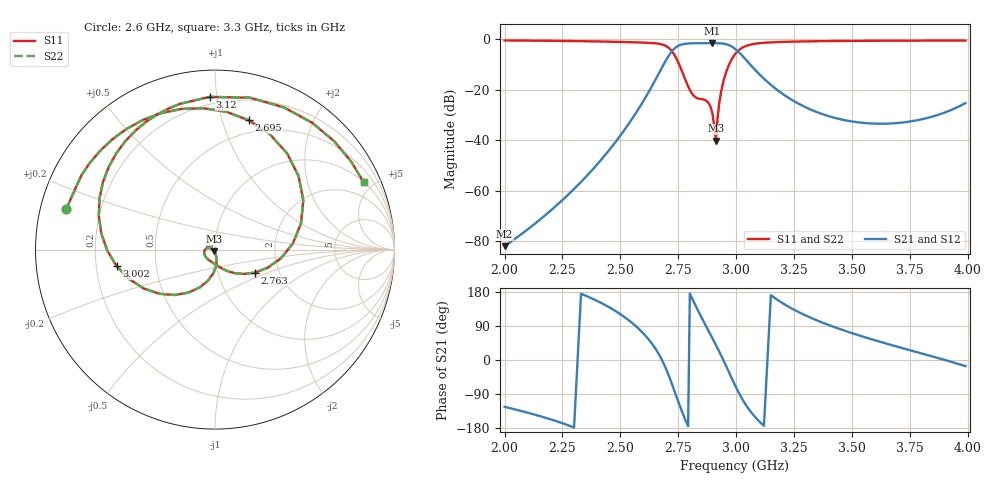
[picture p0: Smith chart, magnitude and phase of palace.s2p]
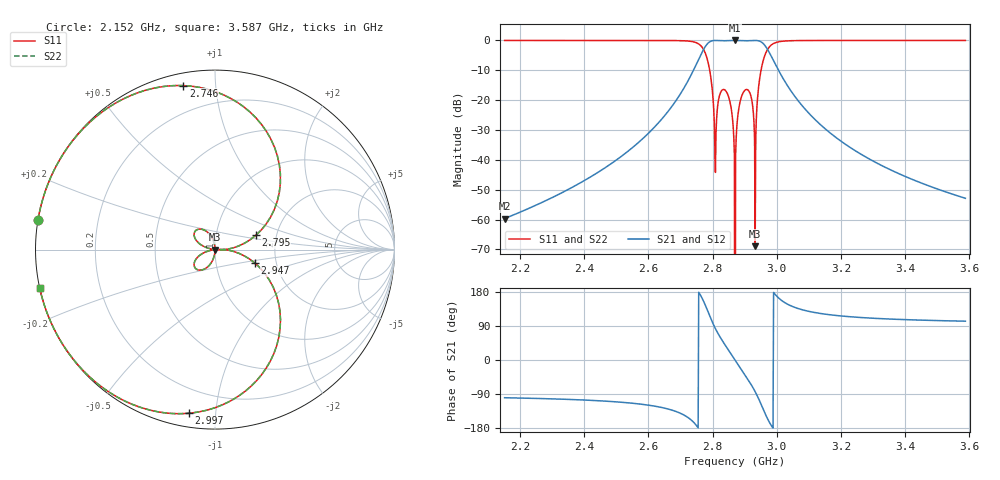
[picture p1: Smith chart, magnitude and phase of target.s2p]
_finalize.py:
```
"""Finalize deliverables: regenerate palace.s2p from the final baked sim,
build the combined comparison figure, copy it into v2_data. Run after final sim."""
import numpy as np, matplotlib
matplotlib.use("Agg")
import matplotlib.pyplot as plt
import skrf as rf, shutil
from config import out_data, out_img, out_s2p

# --- 1) palace.s2p from postpro/final (S22=S11, S12=S21; drop non-physical) ---
d = np.genfromtxt(out_data("postpro/final/port-S.csv"), delimiter=",", names=True,
                  deletechars="", replace_space="")
nm = d.dtype.names; f = d[nm[0]]; o = np.argsort(f); f = f[o]
s11 = 10**(d[nm[1]][o]/20)*np.exp(1j*np.deg2rad(d[nm[2]][o]))
s21 = 10**(d[nm[3]][o]/20)*np.exp(1j*np.deg2rad(d[nm[4]][o]))
keep = (np.abs(s11) <= 1.001) & (np.abs(s21) <= 1.001)
f, s11, s21 = f[keep], s11[keep], s21[keep]
S = np.zeros((len(f), 2, 2), dtype=complex)
S[:, 0, 0] = s11; S[:, 1, 0] = s21; S[:, 0, 1] = s21; S[:, 1, 1] = s11
net = rf.Network(frequency=rf.Frequency.from_f(f*1e9, unit="hz"), s=S, z0=50, name="SIW_BPF_Palace")
net.write_touchstone(out_s2p("palace.s2p").replace(".s2p", ""))
print("palace.s2p:", len(f), "pts")

# --- 2) load comparison sources ---
def db(x): return 20*np.log10(np.clip(np.abs(x), 1e-6, None))
tgt = rf.Network(out_s2p("target.s2p"))
oem = rf.Network(out_s2p("openems.s2p"))
# CST 1st iteration: two stacked blocks (S11 then S21) in "S Parameters.txt"
rows = []
for line in open("S Parameters.txt"):
    s = line.strip()
    if not s or s.startswith("#"):
        rows.append(None); continue
    a, b = s.split(); rows.append((float(a), float(b)))
data = [r for r in rows if r]
blk = [[]]; prev = -1
for fr, v in data:
    if fr < prev - 1e-9: blk.append([])
    blk[-1].append((fr, v)); prev = fr
cst_s11 = np.array(blk[0]); cst_s21 = np.array(blk[1])

# --- 3) combined figure ---
fig, ax = plt.subplots(2, 1, figsize=(9, 7.5), sharex=True)
# S11
ax[0].plot(tgt.f/1e9, db(tgt.s[:, 0, 0]), ":", color="gray", lw=1.5, label="Objetivo (síntesis)")
ax[0].plot(cst_s11[:, 0], cst_s11[:, 1], "-", color="#2ca02c", lw=1.5, label="CST 1ra iter. (L=38.2)")
ax[0].plot(oem.f/1e9, db(oem.s[:, 0, 0]), "-", color="#ff7f0e", lw=1.3, alpha=.8, label="openEMS (L=38.2)")
ax[0].plot(f, db(s11), "-", color="#1f77b4", lw=2, label="Palace final (L=34.4, w_ext=16)")
ax[0].set_ylabel("|S11| (dB)"); ax[0].set_ylim(-40, 3); ax[0].grid(alpha=.3)
ax[0].axvline(2.87, color="k", ls=":", lw=.8); ax[0].axhline(-16, color="grey", ls="--", lw=.7, alpha=.5)
ax[0].legend(fontsize=8, loc="lower left"); ax[0].set_title("Comparación de métodos — |S11| y |S21|")
# S21
ax[1].plot(tgt.f/1e9, db(tgt.s[:, 1, 0]), ":", color="gray", lw=1.5, label="Objetivo (síntesis)")
ax[1].plot(cst_s21[:, 0], cst_s21[:, 1], "-", color="#2ca02c", lw=1.5, label="CST 1ra iter.")
ax[1].plot(oem.f/1e9, db(oem.s[:, 1, 0]), "-", color="#ff7f0e", lw=1.3, alpha=.8, label="openEMS")
ax[1].plot(f, db(s21), "-", color="#d62728", lw=2, label="Palace final")
ax[1].set_ylabel("|S21| (dB)"); ax[1].set_xlabel("Frecuencia (GHz)")
ax[1].set_xlim(2.0, 3.6); ax[1].set_ylim(-60, 3); ax[1].grid(alpha=.3)
ax[1].axvline(2.87, color="k", ls=":", lw=.8); ax[1].legend(fontsize=8, loc="lower center")
o = out_img("compare_final.png"); fig.tight_layout(); fig.savefig(o, dpi=140); print("WROTE", o)
shutil.copy2(o, "v2_data/compare_final.png"); print("copied to v2_data/")
```
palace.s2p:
! Created with skrf 1.12.0 (http://scikit-rf.org).
# Hz S RI R 50.0
!freq ReS11 ImS11 ReS21 ImS21 ReS12 ImS12 ReS22 ImS22
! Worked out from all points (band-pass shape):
!   116 points, 2 GHz to 3.99 GHz, reference 50 ohm
!   highest |S21| = -1.52 dB at 2.897 GHz (marker M1); lowest = -81.9 dB at 2 GHz (marker M2)
!   |S21| within 3 dB of the highest: 2.725 GHz to 3.005 GHz (280 MHz wide, 9.77 % of centre)
!   lowest |S11| = -40.1 dB at 2.913 GHz (marker M3), VSWR 1.02, Z = 49.4 - j0.768 ohm
!   |S11| at or under -10 dB: 2.754 GHz to 2.97 GHz (215.5 MHz wide, 7.53 % of centre)
!   |S22| runs from -40.1 to -0.5 dB; largest |S21 - S12| = 0
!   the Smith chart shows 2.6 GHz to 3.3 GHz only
!   S11 on the Smith chart (normalised r, x): 2.6 GHz: 0.08, +0.13; 2.695 GHz: 0.38, +1.23; 2.763 GHz: 1.50, -0.41; 3.002 GHz: 0.29, -0.08; 3.12 GHz: 0.15, +0.95; 3.3 GHz: 1.02, +4.41
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2e9  0.8215 -0.4738  -4.46e-05 -6.72e-05  -4.46e-05 -6.72e-05  0.8215 -0.4738
2.6e9  -0.8296 0.2244  0.021 0.057  0.021 0.057  -0.8296 0.2244
2.695e9  0.1894 0.72  0.3483 -0.1272  0.3483 -0.1272  0.1894 0.72
2.7625e9  0.2217 -0.1283  -0.5063 -0.5966  -0.5063 -0.5966  0.2217 -0.1283
2.8975e9  -0.0327 0.00927  0.4539 0.7061  0.4539 0.7061  -0.0327 0.00927
2.9125e9  -0.00613 -0.00777  0.6468 0.5341  0.6468 0.5341  -0.00613 -0.00777
2.995e9  -0.4781 -0.1645  0.2589 -0.5939  0.2589 -0.5939  -0.4781 -0.1645
3.0025e9  -0.5473 -0.093  0.1486 -0.588  0.1486 -0.588  -0.5473 -0.093
3.12e9  -0.0291 0.8509  -0.1651 -0.0181  -0.1651 -0.0181  -0.0291 0.8509
3.3e9  0.828 0.3748  -0.0209 0.04  -0.0209 0.04  0.828 0.3748
3.99e9  -0.2423 -0.9088  0.0524 -0.0152  0.0524 -0.0152  -0.2423 -0.9088
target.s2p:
! Created with skrf 1.12.0 (http://scikit-rf.org).
! Data is not renormalized
! S-parameter uses the power definition
# Hz S RI R
!freq ReS11 ImS11 ReS21 ImS21 ReS12 ImS12 ReS22 ImS22
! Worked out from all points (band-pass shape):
!   801 points, 2.152 GHz to 3.587 GHz, reference per port
!   highest |S21| = 0.00 dB at 2.87 GHz (marker M1); lowest = -59.7 dB at 2.152 GHz (marker M2)
!   |S21| within 3 dB of the highest: 2.772 GHz to 2.971 GHz (199.2 MHz wide, 6.94 % of centre)
!   lowest |S11| = -68.9 dB at 2.933 GHz (marker M3), VSWR 1.00
!   |S11| at or under -10 dB: 2.791 GHz to 2.951 GHz (159.8 MHz wide, 5.57 % of centre)
!   |S22| runs from - to 0.0 dB; largest |S21 - S12| = 0
!   S11 on the Smith chart (normalised r, x): 2.152 GHz: 0.00, +0.08; 2.746 GHz: 0.06, +0.82; 2.795 GHz: 1.56, +0.26; 2.947 GHz: 1.55, -0.25; 2.997 GHz: 0.07, -0.85; 3.587 GHz: 0.00, -0.11
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2.1525e9  -0.9861 0.1661  -0.000172 -0.00102  -0.000172 -0.00102  -0.9861 0.1661
! Port Impedance 50.00000000000000 0.00000000000000 50.00000000000000 0.00000000000000
2.746231e9  -0.1767 0.9137  -0.3593 -0.0695  -0.3593 -0.0695  -0.1767 0.9137
2.794662e9  0.2276 0.0797  -0.3206 0.916  -0.3206 0.916  0.2276 0.0797
2.809012e9  -0.0061 0.000776  0.1261 0.992  0.1261 0.992  -0.0061 0.000776
2.848475e9  -0.0558 0.1066  0.8797 0.46  0.8797 0.46  -0.0558 0.1066
2.87e9  0 0  1 -0  1 -0  0 0
2.900494e9  -0.0913 -0.1138  0.7717 -0.6191  0.7717 -0.6191  -0.0913 -0.1138
2.932781e9  -0.000355 -4.04e-05  0.1131 -0.9936  0.1131 -0.9936  -0.000355 -4.04e-05
2.947131e9  0.2237 -0.0763  -0.3137 -0.9196  -0.3137 -0.9196  0.2237 -0.0763
2.997356e9  -0.1462 -0.9118  -0.379 0.0608  -0.379 0.0608  -0.1462 -0.9118
3.5875e9  -0.9766 -0.2152  -0.000488 0.00221  -0.000488 0.00221  -0.9766 -0.2152
